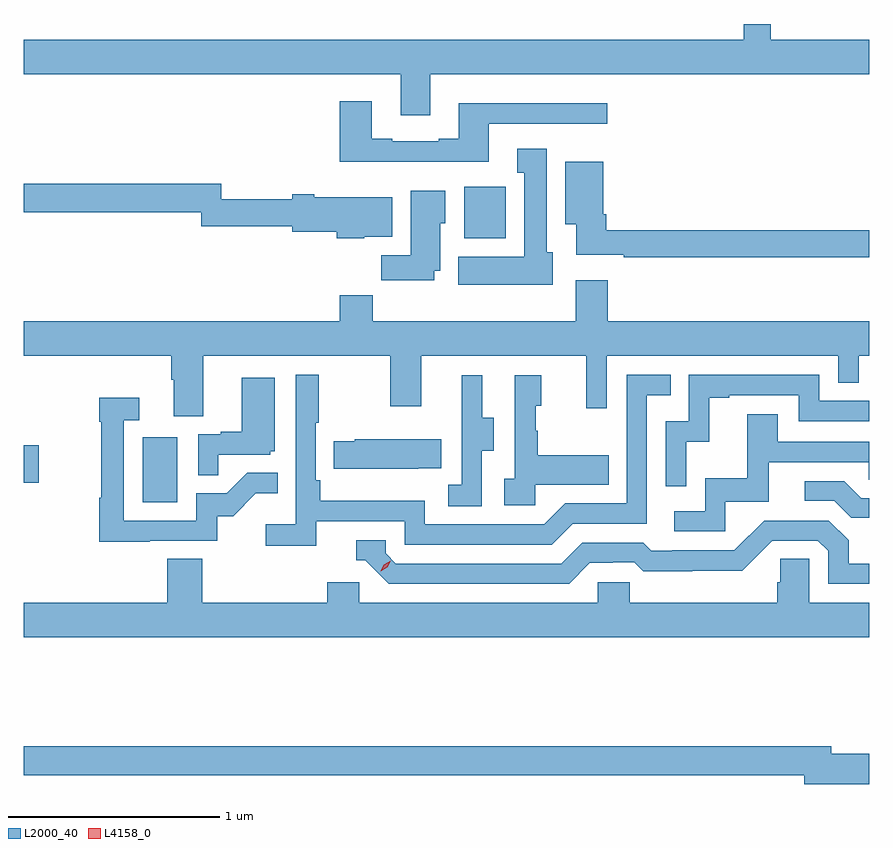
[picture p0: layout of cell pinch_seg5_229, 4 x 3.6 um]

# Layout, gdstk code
import gdstk
lib = gdstk.Library(unit=1e-6, precision=1e-09)
def R(c, l, rs):  # rectangles x0, y0, x1, y1
    for r in rs: c.add(gdstk.rectangle(r[:2], r[2:], *l))
def P(c, l, *ps):  # polygons
    for p in ps: c.add(gdstk.Polygon(p, *l))
L2000_40 = (2000, 40)
L4158_0 = (4158, 0)

pinch_seg5_229 = lib.new_cell('pinch_seg5_229')
R(pinch_seg5_229, L2000_40, [(974.288,904.02,974.452,904.327), (973.726,904.112,973.795,904.29), (975.809,905.27,976.006,905.512)])
P(pinch_seg5_229, L2000_40, [(975.649,906.044),(977.726,906.044),(977.726,906.208),(977.261,906.208),(977.261,906.283),(977.133,906.283),(977.133,906.208),(973.726,906.208),(973.726,906.044),(975.509,906.044),(975.509,905.85),(975.649,905.85)],
  [(975.925,905.811),(976.486,905.811),(976.486,905.908),(975.785,905.908),(975.785,905.74),(975.689,905.74),(975.689,905.727),(975.469,905.727),(975.469,905.74),(975.373,905.74),(975.373,905.917),(975.221,905.917),(975.221,905.63),(975.925,905.63)],
  [(976.228,905.202),(976.201,905.202),(976.201,905.692),(976.061,905.692),(976.061,905.579),(976.094,905.579),(976.094,905.182),(975.782,905.182),(975.782,905.048),(976.228,905.048)],
  [(977.726,905.306),(976.481,905.306),(976.481,905.383),(976.468,905.383),(976.468,905.632),(976.289,905.632),(976.289,905.336),(976.34,905.336),(976.34,905.19),(976.564,905.19),(976.564,905.178),(977.726,905.178)],
  [(975.336,905.276),(975.469,905.276),(975.469,905.464),(975.1,905.464),(975.1,905.477),(974.996,905.477),(974.996,905.453),(974.661,905.453),(974.661,905.528),(973.726,905.528),(973.726,905.392),(974.565,905.392),(974.565,905.325),(974.996,905.325),(974.996,905.299),(975.206,905.299),(975.206,905.27),(975.336,905.27)],
  [(975.667,905.114),(975.697,905.114),(975.697,905.34),(975.721,905.34),(975.721,905.494),(975.557,905.494),(975.557,905.188),(975.418,905.188),(975.418,905.07),(975.667,905.07)],
  [(974.575,904.712),(975.46,904.712),(975.46,904.473),(975.607,904.473),(975.607,904.712),(976.388,904.712),(976.388,904.464),(976.485,904.464),(976.485,904.712),(977.58,904.712),(977.58,904.585),(977.676,904.585),(977.676,904.712),(977.726,904.712),(977.726,904.876),(976.49,904.876),(976.49,905.071),(976.337,905.071),(976.337,904.876),(975.377,904.876),(975.377,905),(975.221,905),(975.221,904.876),(973.726,904.876),(973.726,904.712),(974.423,904.712),(974.423,904.6),(974.435,904.6),(974.435,904.426),(974.575,904.426)],
  [(975.11,903.93),(975.528,903.93),(975.528,903.819),(976.225,903.819),(976.324,903.918),(976.674,903.918),(976.674,904.527),(976.787,904.527),(976.787,904.623),(976.578,904.623),(976.578,904.014),(976.287,904.014),(976.188,903.915),(975.624,903.915),(975.624,904.027),(975.128,904.027),(975.128,904.123),(975.108,904.123),(975.108,904.396),(975.121,904.396),(975.121,904.624),(975.012,904.624),(975.012,903.916),(974.871,903.916),(974.871,903.814),(975.11,903.814)],
  [(976.86,904.307),(976.97,904.307),(976.97,904.515),(977.065,904.515),(977.065,904.527),(977.394,904.527),(977.394,904.404),(977.726,904.404),(977.726,904.5),(977.49,904.5),(977.49,904.623),(976.872,904.623),(976.872,904.404),(976.764,904.404),(976.764,904.095),(976.86,904.095)],
  [(975.894,904.264),(975.949,904.264),(975.949,904.419),(975.895,904.419),(975.895,904.621),(975.797,904.621),(975.797,904.407),(975.798,904.407),(975.798,904.103),(975.735,904.103),(975.735,904),(975.894,904)],
  [(976.146,904.103),(976.493,904.103),(976.493,904.243),(976.159,904.243),(976.159,904.358),(976.149,904.358),(976.149,904.476),(976.174,904.476),(976.174,904.621),(976.05,904.621),(976.05,904.13),(975.999,904.13),(975.999,904.005),(976.146,904.005)],
  [(974.645,904.245),(974.892,904.245),(974.892,904.26),(974.914,904.26),(974.914,904.609),(974.756,904.609),(974.756,904.354),(974.657,904.354),(974.657,904.341),(974.55,904.341),(974.55,904.147),(974.645,904.147)],
  [(974.321,903.837),(974.64,903.837),(974.64,903.954),(974.716,903.954),(974.823,904.061),(974.927,904.061),(974.927,904.16),(974.783,904.16),(974.685,904.062),(974.541,904.062),(974.541,903.933),(974.199,903.933),(974.199,904.407),(974.272,904.407),(974.272,904.513),(974.083,904.513),(974.083,904.4),(974.091,904.4),(974.091,904.04),(974.083,904.04),(974.083,903.832),(974.321,903.832)],
  [(977.046,904.023),(977.251,904.023),(977.251,904.209),(977.725,904.209),(977.725,904.125),(977.726,904.125),(977.726,904.305),(977.293,904.305),(977.293,904.435),(977.149,904.435),(977.149,904.132),(976.95,904.132),(976.95,903.978),(976.803,903.978),(976.803,903.882),(977.046,903.882)],
  [(975.593,904.181),(975.701,904.181),(975.701,904.318),(975.291,904.318),(975.291,904.308),(975.193,904.308),(975.193,904.178),(975.593,904.178)],
  [(977.726,904.038),(977.689,904.038),(977.608,904.119),(977.421,904.119),(977.421,904.026),(977.562,904.026),(977.642,903.946),(977.726,903.946)],
  [(976.405,903.732),(976.512,903.732),(976.512,903.735),(976.615,903.735),(976.657,903.693),(976.89,903.693),(976.89,903.695),(977.126,903.695),(977.268,903.837),(977.484,903.837),(977.532,903.789),(977.532,903.633),(977.726,903.633),(977.726,903.729),(977.629,903.729),(977.629,903.839),(977.535,903.933),(977.229,903.933),(977.088,903.792),(976.795,903.792),(976.795,903.789),(976.696,903.789),(976.657,903.828),(976.368,903.828),(976.269,903.729),(975.486,903.729),(975.438,903.777),(975.438,903.84),(975.299,903.84),(975.299,903.744),(975.342,903.744),(975.453,903.633),(976.306,903.633)],
  [(977.726,903.544),(977.442,903.544),(977.442,903.752),(977.305,903.752),(977.305,903.642),(977.291,903.642),(977.291,903.544),(976.593,903.544),(976.593,903.642),(976.443,903.642),(976.443,903.544),(975.312,903.544),(975.312,903.642),(975.161,903.642),(975.161,903.544),(974.57,903.544),(974.57,903.752),(974.405,903.752),(974.405,903.544),(973.726,903.544),(973.726,903.38),(977.726,903.38)],
  [(977.726,902.828),(977.548,902.828),(977.548,902.864),(973.726,902.864),(973.726,902.728),(977.42,902.728),(977.42,902.686),(977.726,902.686)])
P(pinch_seg5_229, L4158_0, [(975.414,903.692),(975.414,903.692),(975.43,903.724),(975.461,903.743),(975.462,903.743),(975.462,903.743),(975.445,903.711),(975.414,903.692)])

lib.write_gds('pinch_seg5_229.gds')
